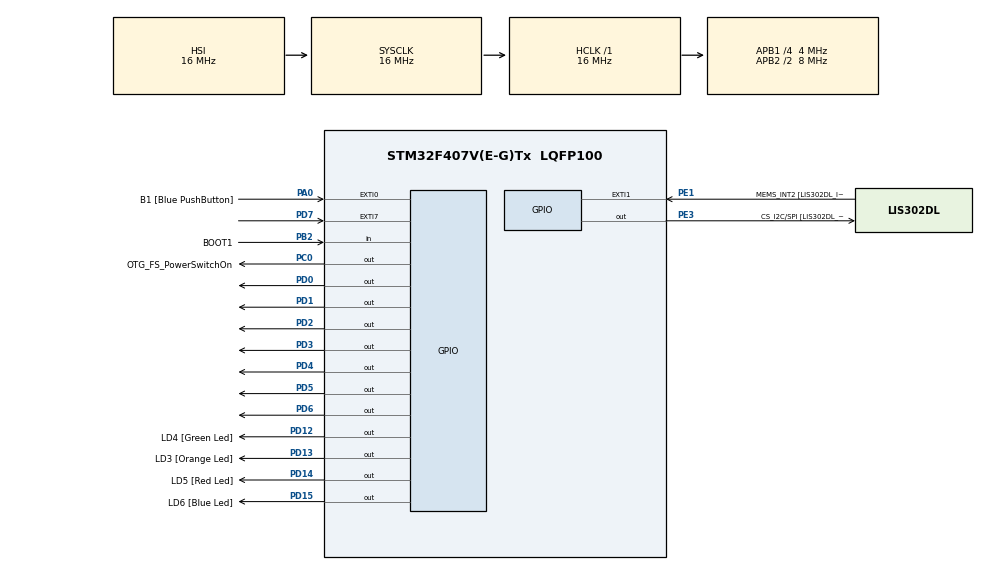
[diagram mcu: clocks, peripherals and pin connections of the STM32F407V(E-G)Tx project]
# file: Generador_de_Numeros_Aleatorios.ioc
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Mcu.Family=STM32F4
PA11.GPIO_Speed=GPIO_SPEED_FREQ_LOW
PC3.GPIO_Mode=GPIO_MODE_AF_PP
PD12.GPIO_Label=LD4 [Green Led]
PH0-OSC_IN.Signal=RCC_OSC_IN
RCC.CortexFreq_Value=16000000
PC10.GPIO_PuPd=GPIO_NOPULL
PB10.GPIO_Speed=GPIO_SPEED_FREQ_LOW
PB6.GPIO_Mode=GPIO_MODE_AF_OD
PB10.GPIO_PuPd=GPIO_NOPULL
PA10.GPIO_PuPd=GPIO_NOPULL
PD15.GPIO_Speed=GPIO_SPEED_FREQ_LOW
PC10.Signal=I2S3_CK
PC12.Signal=I2S3_SD
PA14.GPIO_Label=SWCLK
PA7.GPIO_Mode=GPIO_MODE_AF_PP
PC0.GPIO_Label=OTG_FS_PowerSwitchOn
PA6.GPIO_Label=SPI1_MISO [LIS302DL_SDO]
PB6.GPIO_Label=Audio_SCL [CS43L22_SCL]
PC10.GPIO_Speed=GPIO_SPEED_FREQ_LOW
PA11.GPIO_PuPd=GPIO_NOPULL
PC15-OSC32_OUT.GPIO_Label=PC15-OSC32_OUT
PC3.GPIO_Speed=GPIO_SPEED_FREQ_LOW
ProjectManager.StackSize=0x400
PA6.GPIO_Mode=GPIO_MODE_AF_PP
PD13.Signal=GPIO_Output
PD14.GPIO_Speed=GPIO_SPEED_FREQ_LOW
PA12.Signal=USB_OTG_FS_DP
RCC.HCLKFreq_Value=16000000
PD4.Signal=GPIO_Output
RCC.APB2TimFreq_Value=16000000
PB6.Signal=I2C1_SCL
PC7.Signal=I2S3_MCK
PC3.Signal=I2S2_SD
PD0.Signal=GPIO_Output
PE1.Signal=GPXTI1
RCC.AHBFreq_Value=16000000
PH0-OSC_IN.GPIO_Label=PH0-OSC_IN
PA9.GPIO_Mode=GPIO_MODE_INPUT
RCC.HSE_VALUE=8000000
PA4.GPIO_PuPd=GPIO_NOPULL
PB2.Signal=GPIO_Input
PA4.GPIO_Speed=GPIO_SPEED_FREQ_LOW
PA6.GPIO_PuPd=GPIO_NOPULL
PA5.GPIO_PuPd=GPIO_NOPULL
PA10.GPIO_Label=OTG_FS_ID
PC7.GPIO_Mode=GPIO_MODE_AF_PP
PD14.GPIO_PuPd=GPIO_NOPULL
PB2.GPIO_PuPd=GPIO_NOPULL
PD13.GPIO_Label=LD3 [Orange Led]
Mcu.Package=LQFP100
PB9.Signal=I2C1_SDA
PA6.Signal=SPI1_MISO
PD12.Signal=GPIO_Output
PD15.GPIO_PuPd=GPIO_NOPULL
PA10.Signal=USB_OTG_FS_ID
PB9.GPIO_PuPd=GPIO_NOPULL
PA10.GPIO_Speed=GPIO_SPEED_FREQ_LOW
RCC.APB2CLKDivider=RCC_HCLK_DIV2
PB9.GPIO_Speed=GPIO_SPEED_FREQ_LOW
RCC.APB1TimFreq_Value=8000000
PC14-OSC32_IN.GPIO_Label=PC14-OSC32_IN
PC12.GPIO_PuPd=GPIO_NOPULL
PA6.GPIO_Speed=GPIO_SPEED_FREQ_LOW
PC0.GPIO_PuPd=GPIO_NOPULL
PA12.GPIO_PuPd=GPIO_NOPULL
PD6.Signal=GPIO_Output
PA4.GPIO_Label=I2S3_WS [CS43L22_LRCK]
PD15.Signal=GPIO_Output
PC0.PinState=GPIO_PIN_SET
PA12.GPIO_Speed=GPIO_SPEED_FREQ_LOW
PB3.GPIO_Label=SWO
PD12.GPIO_Speed=GPIO_SPEED_FREQ_LOW
PD15.GPIO_Label=LD6 [Blue Led]
PB9.GPIO_Label=Audio_SDA [CS43L22_SDA]
PC10.GPIO_Label=I2S3_SCK [CS43L22_SCLK]
PA9.GPIO_Label=VBUS_FS
PB6.GPIO_PuPd=GPIO_NOPULL
PD3.Signal=GPIO_Output
PD7.Signal=GPXTI7
PD1.Signal=GPIO_Output
PA11.GPIO_Label=OTG_FS_DM
PE1.GPIO_PuPd=GPIO_NOPULL
PD5.Signal=GPIO_Output
PC0.Signal=GPIO_Output
PE1.GPIO_ModeDefaultEXTI=GPIO_MODE_EVT_RISING
RCC.APB1CLKDivider=RCC_HCLK_DIV4
PC14-OSC32_IN.Signal=RCC_OSC32_IN
PA9.GPIO_PuPd=GPIO_NOPULL
PA12.GPIO_Label=OTG_FS_DP
PA0-WKUP.GPIO_Label=B1 [Blue PushButton]
PA0-WKUP.Signal=GPXTI0
PA10.GPIO_Mode=GPIO_MODE_AF_PP
PA13.Signal=SYS_JTMS-SWDIO
PC10.GPIO_Mode=GPIO_MODE_AF_PP
PC0.GPIO_Speed=GPIO_SPEED_FREQ_LOW
PB10.GPIO_Mode=GPIO_MODE_AF_PP
ProjectManager.TargetToolchain=STM32CubeIDE
PB10.GPIO_Label=CLK_IN [MP45DT02_CLK]
PA9.Signal=USB_OTG_FS_VBUS
PC7.GPIO_PuPd=GPIO_NOPULL
RCC.LSE_VALUE=32768
PC15-OSC32_OUT.Signal=RCC_OSC32_OUT
PA7.GPIO_PuPd=GPIO_NOPULL
PB10.Signal=I2S2_CK
PA5.Signal=SPI1_SCK
board=STM32F407G-DISC1
PD13.GPIO_Speed=GPIO_SPEED_FREQ_LOW
PC7.GPIO_Speed=GPIO_SPEED_FREQ_LOW
RCC.VCOOutputFreq_Value=100000000
PE1.GPIO_Label=MEMS_INT2 [LIS302DL_INT2]
PA7.GPIO_Speed=GPIO_SPEED_FREQ_LOW
PB9.GPIO_Mode=GPIO_MODE_AF_OD
PA12.GPIO_Mode=GPIO_MODE_AF_PP
PA4.GPIO_Mode=GPIO_MODE_AF_PP
RCC.APB2Freq_Value=8000000
PB2.GPIO_Mode=GPIO_MODE_INPUT
PE3.GPIO_PuPd=GPIO_NOPULL
PH1-OSC_OUT.Signal=RCC_OSC_OUT
PD13.GPIO_PuPd=GPIO_NOPULL
PD14.GPIO_Label=LD5 [Red Led]
PH1-OSC_OUT.GPIO_Label=PH1-OSC_OUT
PD7.GPIO_ModeDefaultEXTI=GPIO_MODE_IT_FALLING
Mcu.Name=STM32F407V(E-G)Tx
PA13.GPIO_Label=SWDIO
PC7.GPIO_Label=I2S3_MCK [CS43L22_MCLK]
PD14.Signal=GPIO_Output
RCC.48MHZClocksFreq_Value=14285714.285714285
PB3.Signal=SYS_JTDO-SWO
NVIC.EXTI0_IRQn=true\:0\:0\:false\:false\:true\:true\:true
PA4.Signal=I2S3_WS
RCC.SYSCLKFreq_VALUE=16000000
PC12.GPIO_Mode=GPIO_MODE_AF_PP
PA7.GPIO_Label=SPI1_MOSI [LIS302DL_SDA/SDI/SDO]
PA5.GPIO_Label=SPI1_SCK [LIS302DL_SCL/SPC]
PE3.GPIO_Speed=GPIO_SPEED_FREQ_LOW
PC12.GPIO_Label=I2S3_SD [CS43L22_SDIN]
PA11.Signal=USB_OTG_FS_DM
NVIC.EXTI9_5_IRQn=true\:0\:0\:false\:false\:true\:true\:true
PA14.Signal=SYS_JTCK-SWCLK
PB2.GPIO_Label=BOOT1
ProjectManager.HeapSize=0x200
RCC.HSI_VALUE=16000000
RCC.PLLP=RCC_PLLP_DIV4
PA5.GPIO_Speed=GPIO_SPEED_FREQ_LOW
RCC.PLLQ=7
NVIC.PriorityGroup=NVIC_PRIORITYGROUP_0
RCC.PLLM=8
RCC.PLLN=50
PE3.Signal=GPIO_Output
PE3.GPIO_Label=CS_I2C/SPI [LIS302DL_CS_I2C/SPI]
PC3.GPIO_Label=PDM_OUT [MP45DT02_DOUT]
PA11.GPIO_Mode=GPIO_MODE_AF_PP
PD2.Signal=GPIO_Output
PB6.GPIO_Speed=GPIO_SPEED_FREQ_LOW
RCC.APB1Freq_Value=4000000
PA5.GPIO_Mode=GPIO_MODE_AF_PP
PC12.GPIO_Speed=GPIO_SPEED_FREQ_LOW
PC3.GPIO_PuPd=GPIO_NOPULL
PD12.GPIO_PuPd=GPIO_NOPULL
PA7.Signal=SPI1_MOSI

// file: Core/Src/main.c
/* USER CODE BEGIN Header */
/**
  ******************************************************************************
  * @file           : main.c
  * @brief          : Main program body
  ******************************************************************************
  * @attention
  *
  * <h2><center>&copy; Copyright (c) 2020 STMicroelectronics.
  * All rights reserved.</center></h2>
  *
  * This software component is licensed by ST under BSD 3-Clause license,
  * the "License"; You may not use this file except in compliance with the
  * License. You may obtain a copy of the License at:
  *                        opensource.org/licenses/BSD-3-Clause
  *
  ******************************************************************************
  */
/* USER CODE END Header */
#include "main.h"

/* USER CODE BEGIN Includes */
#include <math.h>
#include <stdlib.h>

/* USER CODE END Includes */

/* USER CODE BEGIN PD */
#define delay 1				//tiempo de encendido de cada display en ms
/* USER CODE END PD */

/* USER CODE BEGIN PV */
int D[8]={0x70, 0x60, 0x50, 0x40, 0x30, 0x20, 0x10, 0x00};
int dn;
int dig[8];
/* USER CODE END PV */

void SystemClock_Config(void);
static void MX_GPIO_Init(void);
/* USER CODE BEGIN PFP */
void displayNumber(int);
void setDisplay(int[]);
/* USER CODE END PFP */

/* USER CODE BEGIN 0 */
void displayNumber(int count){
	int power;
	for(int i=0; i<8; i++){
		power = pow(10,(i+1));
		dig[i]=(count%power)/(pow(10,i));
	}
}
void setDisplay(int dig[]){
	for(int i=7; i>=0; i--){
		GPIOD->ODR=dig[i]+D[i];
		HAL_Delay(delay);
	}
}
/* USER CODE END 0 */

int main(void)
{

  /* MCU Configuration--------------------------------------------------------*/

  /* Reset of all peripherals, Initializes the Flash interface and the Systick. */
  HAL_Init();

  /* Configure the system clock */
  SystemClock_Config();

  /* Initialize all configured peripherals */
  MX_GPIO_Init();

  /* Infinite loop */
  while (1)
  {

    /* USER CODE BEGIN 3 */
	  setDisplay(dig);		//ejecucion de 16ms
  }
  /* USER CODE END 3 */
}

void SystemClock_Config(void)
{
  RCC_OscInitTypeDef RCC_OscInitStruct = {0};
  RCC_ClkInitTypeDef RCC_ClkInitStruct = {0};

  /** Configure the main internal regulator output voltage
  */
  __HAL_RCC_PWR_CLK_ENABLE();
  __HAL_PWR_VOLTAGESCALING_CONFIG(PWR_REGULATOR_VOLTAGE_SCALE1);
  /** Initializes the RCC Oscillators according to the specified parameters
  * in the RCC_OscInitTypeDef structure.
  */
  RCC_OscInitStruct.OscillatorType = RCC_OSCILLATORTYPE_HSI;
  RCC_OscInitStruct.HSIState = RCC_HSI_ON;
  RCC_OscInitStruct.HSICalibrationValue = RCC_HSICALIBRATION_DEFAULT;
  RCC_OscInitStruct.PLL.PLLState = RCC_PLL_NONE;
  if (HAL_RCC_OscConfig(&RCC_OscInitStruct) != HAL_OK)
  {
    Error_Handler();
  }
  /** Initializes the CPU, AHB and APB buses clocks
  */
  RCC_ClkInitStruct.ClockType = RCC_CLOCKTYPE_HCLK|RCC_CLOCKTYPE_SYSCLK
                              |RCC_CLOCKTYPE_PCLK1|RCC_CLOCKTYPE_PCLK2;
  RCC_ClkInitStruct.SYSCLKSource = RCC_SYSCLKSOURCE_HSI;
  RCC_ClkInitStruct.AHBCLKDivider = RCC_SYSCLK_DIV1;
  RCC_ClkInitStruct.APB1CLKDivider = RCC_HCLK_DIV4;
  RCC_ClkInitStruct.APB2CLKDivider = RCC_HCLK_DIV2;

  if (HAL_RCC_ClockConfig(&RCC_ClkInitStruct, FLASH_LATENCY_0) != HAL_OK)
  {
    Error_Handler();
  }
}

static void MX_GPIO_Init(void)
{
  GPIO_InitTypeDef GPIO_InitStruct = {0};

  /* GPIO Ports Clock Enable */
  __HAL_RCC_GPIOE_CLK_ENABLE();
  __HAL_RCC_GPIOC_CLK_ENABLE();
  __HAL_RCC_GPIOH_CLK_ENABLE();
  __HAL_RCC_GPIOA_CLK_ENABLE();
  __HAL_RCC_GPIOB_CLK_ENABLE();
  __HAL_RCC_GPIOD_CLK_ENABLE();

  /*Configure GPIO pin Output Level */
  HAL_GPIO_WritePin(CS_I2C_SPI_GPIO_Port, CS_I2C_SPI_Pin, GPIO_PIN_RESET);

  /*Configure GPIO pin Output Level */
  HAL_GPIO_WritePin(OTG_FS_PowerSwitchOn_GPIO_Port, OTG_FS_PowerSwitchOn_Pin, GPIO_PIN_SET);

  /*Configure GPIO pin Output Level */
  HAL_GPIO_WritePin(GPIOD, LD4_Pin|LD3_Pin|LD5_Pin|LD6_Pin
                          |GPIO_PIN_0|GPIO_PIN_1|GPIO_PIN_2|GPIO_PIN_3
                          |GPIO_PIN_4|GPIO_PIN_5|GPIO_PIN_6, GPIO_PIN_RESET);

  /*Configure GPIO pin : CS_I2C_SPI_Pin */
  GPIO_InitStruct.Pin = CS_I2C_SPI_Pin;
  GPIO_InitStruct.Mode = GPIO_MODE_OUTPUT_PP;
  GPIO_InitStruct.Pull = GPIO_NOPULL;
  GPIO_InitStruct.Speed = GPIO_SPEED_FREQ_LOW;
  HAL_GPIO_Init(CS_I2C_SPI_GPIO_Port, &GPIO_InitStruct);

  /*Configure GPIO pin : OTG_FS_PowerSwitchOn_Pin */
  GPIO_InitStruct.Pin = OTG_FS_PowerSwitchOn_Pin;
  GPIO_InitStruct.Mode = GPIO_MODE_OUTPUT_PP;
  GPIO_InitStruct.Pull = GPIO_NOPULL;
  GPIO_InitStruct.Speed = GPIO_SPEED_FREQ_LOW;
  HAL_GPIO_Init(OTG_FS_PowerSwitchOn_GPIO_Port, &GPIO_InitStruct);

  /*Configure GPIO pin : PDM_OUT_Pin */
  GPIO_InitStruct.Pin = PDM_OUT_Pin;
  GPIO_InitStruct.Mode = GPIO_MODE_AF_PP;
  GPIO_InitStruct.Pull = GPIO_NOPULL;
  GPIO_InitStruct.Speed = GPIO_SPEED_FREQ_LOW;
  GPIO_InitStruct.Alternate = GPIO_AF5_SPI2;
  HAL_GPIO_Init(PDM_OUT_GPIO_Port, &GPIO_InitStruct);

  /*Configure GPIO pin : B1_Pin */
  GPIO_InitStruct.Pin = B1_Pin;
  GPIO_InitStruct.Mode = GPIO_MODE_IT_RISING;
  GPIO_InitStruct.Pull = GPIO_NOPULL;
  HAL_GPIO_Init(B1_GPIO_Port, &GPIO_InitStruct);

  /*Configure GPIO pin : I2S3_WS_Pin */
  GPIO_InitStruct.Pin = I2S3_WS_Pin;
  GPIO_InitStruct.Mode = GPIO_MODE_AF_PP;
  GPIO_InitStruct.Pull = GPIO_NOPULL;
  GPIO_InitStruct.Speed = GPIO_SPEED_FREQ_LOW;
  GPIO_InitStruct.Alternate = GPIO_AF6_SPI3;
  HAL_GPIO_Init(I2S3_WS_GPIO_Port, &GPIO_InitStruct);

  /*Configure GPIO pins : SPI1_SCK_Pin SPI1_MISO_Pin SPI1_MOSI_Pin */
  GPIO_InitStruct.Pin = SPI1_SCK_Pin|SPI1_MISO_Pin|SPI1_MOSI_Pin;
  GPIO_InitStruct.Mode = GPIO_MODE_AF_PP;
  GPIO_InitStruct.Pull = GPIO_NOPULL;
  GPIO_InitStruct.Speed = GPIO_SPEED_FREQ_LOW;
  GPIO_InitStruct.Alternate = GPIO_AF5_SPI1;
  HAL_GPIO_Init(GPIOA, &GPIO_InitStruct);

  /*Configure GPIO pin : BOOT1_Pin */
  GPIO_InitStruct.Pin = BOOT1_Pin;
  GPIO_InitStruct.Mode = GPIO_MODE_INPUT;
  GPIO_InitStruct.Pull = GPIO_NOPULL;
  HAL_GPIO_Init(BOOT1_GPIO_Port, &GPIO_InitStruct);

  /*Configure GPIO pin : CLK_IN_Pin */
  GPIO_InitStruct.Pin = CLK_IN_Pin;
  GPIO_InitStruct.Mode = GPIO_MODE_AF_PP;
  GPIO_InitStruct.Pull = GPIO_NOPULL;
  GPIO_InitStruct.Speed = GPIO_SPEED_FREQ_LOW;
  GPIO_InitStruct.Alternate = GPIO_AF5_SPI2;
  HAL_GPIO_Init(CLK_IN_GPIO_Port, &GPIO_InitStruct);

  /*Configure GPIO pins : LD4_Pin LD3_Pin LD5_Pin LD6_Pin
                           PD0 PD1 PD2 PD3
                           PD4 PD5 PD6 */
  GPIO_InitStruct.Pin = LD4_Pin|LD3_Pin|LD5_Pin|LD6_Pin
                          |GPIO_PIN_0|GPIO_PIN_1|GPIO_PIN_2|GPIO_PIN_3
                          |GPIO_PIN_4|GPIO_PIN_5|GPIO_PIN_6;
  GPIO_InitStruct.Mode = GPIO_MODE_OUTPUT_PP;
  GPIO_InitStruct.Pull = GPIO_NOPULL;
  GPIO_InitStruct.Speed = GPIO_SPEED_FREQ_LOW;
  HAL_GPIO_Init(GPIOD, &GPIO_InitStruct);

  /*Configure GPIO pins : I2S3_MCK_Pin I2S3_SCK_Pin I2S3_SD_Pin */
  GPIO_InitStruct.Pin = I2S3_MCK_Pin|I2S3_SCK_Pin|I2S3_SD_Pin;
  GPIO_InitStruct.Mode = GPIO_MODE_AF_PP;
  GPIO_InitStruct.Pull = GPIO_NOPULL;
  GPIO_InitStruct.Speed = GPIO_SPEED_FREQ_LOW;
  GPIO_InitStruct.Alternate = GPIO_AF6_SPI3;
  HAL_GPIO_Init(GPIOC, &GPIO_InitStruct);

  /*Configure GPIO pin : VBUS_FS_Pin */
  GPIO_InitStruct.Pin = VBUS_FS_Pin;
  GPIO_InitStruct.Mode = GPIO_MODE_INPUT;
  GPIO_InitStruct.Pull = GPIO_NOPULL;
  HAL_GPIO_Init(VBUS_FS_GPIO_Port, &GPIO_InitStruct);

  /*Configure GPIO pins : OTG_FS_ID_Pin OTG_FS_DM_Pin OTG_FS_DP_Pin */
  GPIO_InitStruct.Pin = OTG_FS_ID_Pin|OTG_FS_DM_Pin|OTG_FS_DP_Pin;
  GPIO_InitStruct.Mode = GPIO_MODE_AF_PP;
  GPIO_InitStruct.Pull = GPIO_NOPULL;
  GPIO_InitStruct.Speed = GPIO_SPEED_FREQ_LOW;
  GPIO_InitStruct.Alternate = GPIO_AF10_OTG_FS;
  HAL_GPIO_Init(GPIOA, &GPIO_InitStruct);

  /*Configure GPIO pin : PD7 */
  GPIO_InitStruct.Pin = GPIO_PIN_7;
  GPIO_InitStruct.Mode = GPIO_MODE_IT_FALLING;
  GPIO_InitStruct.Pull = GPIO_NOPULL;
  HAL_GPIO_Init(GPIOD, &GPIO_InitStruct);

  /*Configure GPIO pins : Audio_SCL_Pin Audio_SDA_Pin */
  GPIO_InitStruct.Pin = Audio_SCL_Pin|Audio_SDA_Pin;
  GPIO_InitStruct.Mode = GPIO_MODE_AF_OD;
  GPIO_InitStruct.Pull = GPIO_PULLUP;
  GPIO_InitStruct.Speed = GPIO_SPEED_FREQ_LOW;
  GPIO_InitStruct.Alternate = GPIO_AF4_I2C1;
  HAL_GPIO_Init(GPIOB, &GPIO_InitStruct);

  /*Configure GPIO pin : MEMS_INT2_Pin */
  GPIO_InitStruct.Pin = MEMS_INT2_Pin;
  GPIO_InitStruct.Mode = GPIO_MODE_EVT_RISING;
  GPIO_InitStruct.Pull = GPIO_NOPULL;
  HAL_GPIO_Init(MEMS_INT2_GPIO_Port, &GPIO_InitStruct);

  /* EXTI interrupt init*/
  HAL_NVIC_SetPriority(EXTI0_IRQn, 0, 0);
  HAL_NVIC_EnableIRQ(EXTI0_IRQn);

  HAL_NVIC_SetPriority(EXTI9_5_IRQn, 0, 0);
  HAL_NVIC_EnableIRQ(EXTI9_5_IRQn);

}

/* USER CODE BEGIN 4 */
void HAL_GPIO_EXTI_Callback(uint16_t GPIO_Pin){
	if(GPIO_Pin == GPIO_PIN_0){
		unsigned int se = HAL_GetTick();
		srand(se);
		dn= rand() % 100000000;
		displayNumber(dn);
	}
}
/* USER CODE END 4 */

void Error_Handler(void)
{
}

/************************ (C) COPYRIGHT STMicroelectronics *****END OF FILE****/
